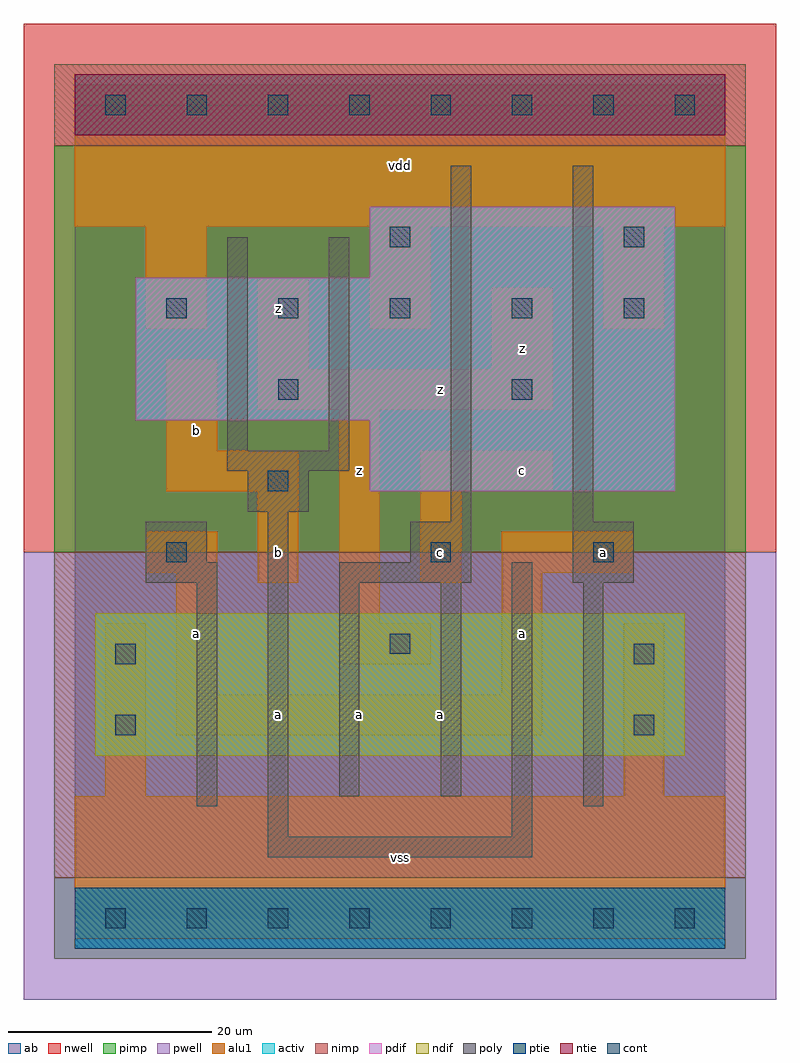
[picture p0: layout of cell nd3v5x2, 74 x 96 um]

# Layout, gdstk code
import gdstk
lib = gdstk.Library(unit=1e-6, precision=1e-09)
def R(c, l, rs):  # rectangles x0, y0, x1, y1
    for r in rs: c.add(gdstk.rectangle(r[:2], r[2:], *l))
def A(c, l, x, y, w, h, nx, ny, dx, dy):  # array of equal rectangles
    R(c, l, [(x+i*dx, y+j*dy, x+i*dx+w, y+j*dy+h) for i in range(nx) for j in range(ny)])
ndif = (3, 0)
pdif = (4, 0)
ntie = (5, 0)
ptie = (6, 0)
cont = (25, 0)
pwell = (41, 0)
nwell = (42, 0)
activ = (43, 0)
pimp = (44, 0)
nimp = (45, 0)
poly = (46, 0)
alu1 = (49, 0)
ab = (63, 0)

nd3v5x2 = lib.new_cell('nd3v5x2')
R(nd3v5x2, ndif, [(2,16,60,30)])
R(nd3v5x2, pdif, [(29,42,59,49), (6,49,59,63), (29,63,59,70)])
R(nd3v5x2, ntie, [(0,77,64,83)])
R(nd3v5x2, ptie, [(0,-3,64,3)])
A(nd3v5x2, cont, 3, -1, 2, 2, 8, 2, 8, 80)
A(nd3v5x2, cont, 9, 59, 2, 2, 3, 1, 11, 0)
R(nd3v5x2, cont, [(4,18,6,20), (55,18,57,20), (4,25,6,27), (55,25,57,27), (31,26,33,28), (9,35,11,37), (35,35,37,37), (51,35,53,37), (19,42,21,44), (20,51,22,53), (43,51,45,53), (43,59,45,61), (54,59,56,61), (31,66,33,68), (54,66,56,68)])
R(nd3v5x2, pwell, [(-5,-8,69,36)])
R(nd3v5x2, nwell, [(-5,36,69,88)])
R(nd3v5x2, activ, [(0,-3,64,3), (2,16,60,30), (29,42,59,49), (6,49,59,63), (29,63,59,70), (0,77,64,83)])
R(nd3v5x2, pimp, [(-2,-4,66,4), (-2,36,66,76)])
R(nd3v5x2, nimp, [(-2,4,66,36), (-2,76,66,84)])
R(nd3v5x2, poly, [(19,6,45,8), (19,8,21,40), (43,8,45,35), (12,11,14,33), (50,11,52,33), (26,12,28,33), (36,12,38,33), (7,33,14,35), (26,33,39,35), (49,33,55,39), (7,35,13,39), (33,35,39,39), (37,39,39,74), (49,39,51,74), (17,40,23,44), (15,44,27,46), (15,46,17,67), (25,46,27,67)])
R(nd3v5x2, alu1, [(0,-2,64,12), (3,12,7,29), (54,12,58,29), (10,18,46,22), (10,22,14,34), (42,22,46,34), (26,25,35,29), (26,29,30,50), (18,33,22,42), (34,33,38,42), (7,34,14,38), (42,34,55,38), (9,42,22,46), (34,42,47,46), (9,46,14,55), (18,50,47,54), (18,54,23,63), (41,54,47,62), (7,58,13,68), (29,58,35,68), (52,58,58,68), (0,68,64,82)])
R(nd3v5x2, ab, [(0,0,64,80)])
nd3v5x2.add(gdstk.Label('a', (12,28), layer=49, texttype=0))
nd3v5x2.add(gdstk.Label('b', (12,48), layer=49, texttype=0))
nd3v5x2.add(gdstk.Label('a', (20,20), layer=49, texttype=0))
nd3v5x2.add(gdstk.Label('a', (28,20), layer=49, texttype=0))
nd3v5x2.add(gdstk.Label('b', (20,36), layer=49, texttype=0))
nd3v5x2.add(gdstk.Label('z', (28,44), layer=49, texttype=0))
nd3v5x2.add(gdstk.Label('z', (20,60), layer=49, texttype=0))
nd3v5x2.add(gdstk.Label('vss', (32,6), layer=49, texttype=0))
nd3v5x2.add(gdstk.Label('a', (36,20), layer=49, texttype=0))
nd3v5x2.add(gdstk.Label('c', (36,36), layer=49, texttype=0))
nd3v5x2.add(gdstk.Label('a', (44,28), layer=49, texttype=0))
nd3v5x2.add(gdstk.Label('c', (44,44), layer=49, texttype=0))
nd3v5x2.add(gdstk.Label('z', (36,52), layer=49, texttype=0))
nd3v5x2.add(gdstk.Label('z', (44,56), layer=49, texttype=0))
nd3v5x2.add(gdstk.Label('vdd', (32,74), layer=49, texttype=0))
nd3v5x2.add(gdstk.Label('a', (52,36), layer=49, texttype=0))

lib.write_gds('nd3v5x2.gds')
